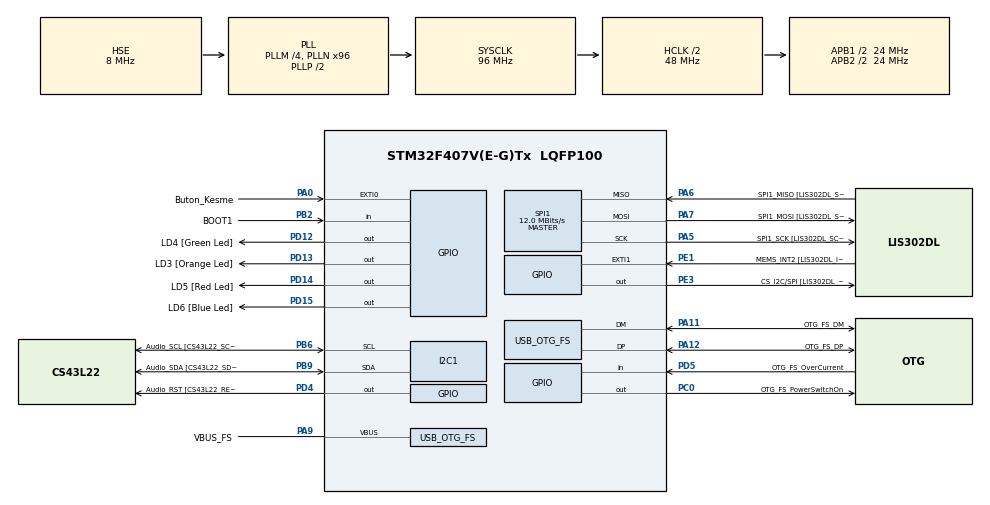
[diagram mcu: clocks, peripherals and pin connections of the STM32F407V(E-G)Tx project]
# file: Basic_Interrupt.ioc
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Mcu.Family=STM32F4
Mcu.Name=STM32F407V(E-G)Tx
Mcu.Package=LQFP100
NVIC.EXTI0_IRQn=true\:0\:0\:false\:false\:true\:true\:true\:true
NVIC.OTG_FS_IRQn=true\:0\:0\:false\:false\:true\:true\:true\:true
NVIC.PriorityGroup=NVIC_PRIORITYGROUP_0
PA0-WKUP.GPIO_Label=Buton_Kesme
PA0-WKUP.Signal=GPXTI0
PA10.GPIO_Label=OTG_FS_ID
PA10.GPIO_Mode=GPIO_MODE_AF_PP
PA10.GPIO_PuPd=GPIO_NOPULL
PA10.GPIO_Speed=GPIO_SPEED_FREQ_LOW
PA10.Signal=USB_OTG_FS_ID
PA11.GPIO_Label=OTG_FS_DM
PA11.GPIO_Mode=GPIO_MODE_AF_PP
PA11.GPIO_PuPd=GPIO_NOPULL
PA11.GPIO_Speed=GPIO_SPEED_FREQ_LOW
PA11.Mode=Host_Only
PA11.Signal=USB_OTG_FS_DM
PA12.GPIO_Label=OTG_FS_DP
PA12.GPIO_Mode=GPIO_MODE_AF_PP
PA12.GPIO_PuPd=GPIO_NOPULL
PA12.GPIO_Speed=GPIO_SPEED_FREQ_LOW
PA12.Mode=Host_Only
PA12.Signal=USB_OTG_FS_DP
PA13.GPIO_Label=SWDIO
PA13.Mode=Serial_Wire
PA13.Signal=SYS_JTMS-SWDIO
PA14.GPIO_Label=SWCLK
PA14.Mode=Serial_Wire
PA14.Signal=SYS_JTCK-SWCLK
PA4.GPIO_Label=I2S3_WS [CS43L22_LRCK]
PA4.GPIO_Mode=GPIO_MODE_AF_PP
PA4.GPIO_PuPd=GPIO_NOPULL
PA4.GPIO_Speed=GPIO_SPEED_FREQ_LOW
PA4.Signal=I2S3_WS
PA5.GPIO_Label=SPI1_SCK [LIS302DL_SCL/SPC]
PA5.GPIO_Mode=GPIO_MODE_AF_PP
PA5.GPIO_PuPd=GPIO_NOPULL
PA5.GPIO_Speed=GPIO_SPEED_FREQ_LOW
PA5.Mode=Full_Duplex_Master
PA5.Signal=SPI1_SCK
PA6.GPIO_Label=SPI1_MISO [LIS302DL_SDO]
PA6.GPIO_Mode=GPIO_MODE_AF_PP
PA6.GPIO_PuPd=GPIO_NOPULL
PA6.GPIO_Speed=GPIO_SPEED_FREQ_LOW
PA6.Mode=Full_Duplex_Master
PA6.Signal=SPI1_MISO
PA7.GPIO_Label=SPI1_MOSI [LIS302DL_SDA/SDI/SDO]
PA7.GPIO_Mode=GPIO_MODE_AF_PP
PA7.GPIO_PuPd=GPIO_NOPULL
PA7.GPIO_Speed=GPIO_SPEED_FREQ_LOW
PA7.Mode=Full_Duplex_Master
PA7.Signal=SPI1_MOSI
PA9.GPIO_Label=VBUS_FS
PA9.GPIO_Mode=GPIO_MODE_INPUT
PA9.GPIO_PuPd=GPIO_NOPULL
PA9.Mode=Activate_VBUS
PA9.Signal=USB_OTG_FS_VBUS
PB10.GPIO_Label=CLK_IN [MP45DT02_CLK]
PB10.GPIO_Mode=GPIO_MODE_AF_PP
PB10.GPIO_PuPd=GPIO_NOPULL
PB10.GPIO_Speed=GPIO_SPEED_FREQ_LOW
PB10.Signal=I2S2_CK
PB2.GPIO_Label=BOOT1
PB2.GPIO_Mode=GPIO_MODE_INPUT
PB2.GPIO_PuPd=GPIO_NOPULL
PB2.Signal=GPIO_Input
PB3.GPIO_Label=SWO
PB3.Signal=SYS_JTDO-SWO
PB6.GPIO_Label=Audio_SCL [CS43L22_SCL]
PB6.GPIO_Mode=GPIO_MODE_AF_OD
PB6.GPIO_Pu=GPIO_PULLUP
PB6.GPIO_PuPd=GPIO_NOPULL
PB6.GPIO_Speed=GPIO_SPEED_FREQ_LOW
PB6.Mode=I2C
PB6.Signal=I2C1_SCL
PB9.GPIO_Label=Audio_SDA [CS43L22_SDA]
PB9.GPIO_Mode=GPIO_MODE_AF_OD
PB9.GPIO_Pu=GPIO_PULLUP
PB9.GPIO_PuPd=GPIO_NOPULL
PB9.GPIO_Speed=GPIO_SPEED_FREQ_LOW
PB9.Mode=I2C
PB9.Signal=I2C1_SDA
PC0.GPIO_Label=OTG_FS_PowerSwitchOn
PC0.GPIO_PuPd=GPIO_NOPULL
PC0.GPIO_Speed=GPIO_SPEED_FREQ_LOW
PC0.PinState=GPIO_PIN_SET
PC0.Signal=GPIO_Output
PC10.GPIO_Label=I2S3_SCK [CS43L22_SCLK]
PC10.GPIO_Mode=GPIO_MODE_AF_PP
PC10.GPIO_PuPd=GPIO_NOPULL
PC10.GPIO_Speed=GPIO_SPEED_FREQ_LOW
PC10.Signal=I2S3_CK
PC12.GPIO_Label=I2S3_SD [CS43L22_SDIN]
PC12.GPIO_Mode=GPIO_MODE_AF_PP
PC12.GPIO_PuPd=GPIO_NOPULL
PC12.GPIO_Speed=GPIO_SPEED_FREQ_LOW
PC12.Signal=I2S3_SD
PC14-OSC32_IN.GPIO_Label=PC14-OSC32_IN
PC14-OSC32_IN.Mode=LSE-External-Oscillator
PC14-OSC32_IN.Signal=RCC_OSC32_IN
PC15-OSC32_OUT.GPIO_Label=PC15-OSC32_OUT
PC15-OSC32_OUT.Mode=LSE-External-Oscillator
PC15-OSC32_OUT.Signal=RCC_OSC32_OUT
PC3.GPIO_Label=PDM_OUT [MP45DT02_DOUT]
PC3.GPIO_Mode=GPIO_MODE_AF_PP
PC3.GPIO_PuPd=GPIO_NOPULL
PC3.GPIO_Speed=GPIO_SPEED_FREQ_LOW
PC3.Signal=I2S2_SD
PC7.GPIO_Label=I2S3_MCK [CS43L22_MCLK]
PC7.GPIO_Mode=GPIO_MODE_AF_PP
PC7.GPIO_PuPd=GPIO_NOPULL
PC7.GPIO_Speed=GPIO_SPEED_FREQ_LOW
PC7.Signal=I2S3_MCK
PD12.GPIO_Label=LD4 [Green Led]
PD12.GPIO_PuPd=GPIO_NOPULL
PD12.GPIO_Speed=GPIO_SPEED_FREQ_LOW
PD12.Signal=GPIO_Output
PD13.GPIO_Label=LD3 [Orange Led]
PD13.GPIO_PuPd=GPIO_NOPULL
PD13.GPIO_Speed=GPIO_SPEED_FREQ_LOW
PD13.Signal=GPIO_Output
PD14.GPIO_Label=LD5 [Red Led]
PD14.GPIO_PuPd=GPIO_NOPULL
PD14.GPIO_Speed=GPIO_SPEED_FREQ_LOW
PD14.Signal=GPIO_Output
PD15.GPIO_Label=LD6 [Blue Led]
PD15.GPIO_PuPd=GPIO_NOPULL
PD15.GPIO_Speed=GPIO_SPEED_FREQ_LOW
PD15.Signal=GPIO_Output
PD4.GPIO_Label=Audio_RST [CS43L22_RESET]
PD4.GPIO_PuPd=GPIO_NOPULL
PD4.GPIO_Speed=GPIO_SPEED_FREQ_LOW
PD4.Signal=GPIO_Output
PD5.GPIO_Label=OTG_FS_OverCurrent
PD5.GPIO_Mode=GPIO_MODE_INPUT
PD5.GPIO_PuPd=GPIO_NOPULL
PD5.Signal=GPIO_Input
PE1.GPIO_Label=MEMS_INT2 [LIS302DL_INT2]
PE1.GPIO_ModeDefaultEXTI=GPIO_MODE_EVT_RISING
PE1.GPIO_PuPd=GPIO_NOPULL
PE1.Signal=GPXTI1
PE3.GPIO_Label=CS_I2C/SPI [LIS302DL_CS_I2C/SPI]
PE3.GPIO_PuPd=GPIO_NOPULL
PE3.GPIO_Speed=GPIO_SPEED_FREQ_LOW
PE3.Signal=GPIO_Output
PH0-OSC_IN.GPIO_Label=PH0-OSC_IN
PH0-OSC_IN.Mode=HSE-External-Oscillator
PH0-OSC_IN.Signal=RCC_OSC_IN
PH1-OSC_OUT.GPIO_Label=PH1-OSC_OUT
PH1-OSC_OUT.Mode=HSE-External-Oscillator
PH1-OSC_OUT.Signal=RCC_OSC_OUT
ProjectManager.HeapSize=0x200
ProjectManager.StackSize=0x400
ProjectManager.TargetToolchain=STM32CubeIDE
RCC.48MHZClocksFreq_Value=48000000
RCC.AHBCLKDivider=RCC_SYSCLK_DIV2
RCC.AHBFreq_Value=48000000
RCC.APB1CLKDivider=RCC_HCLK_DIV2
RCC.APB1Freq_Value=24000000
RCC.APB1TimFreq_Value=48000000
RCC.APB2CLKDivider=RCC_HCLK_DIV2
RCC.APB2Freq_Value=24000000
RCC.APB2TimFreq_Value=48000000
RCC.CortexFreq_Value=48000000
RCC.HCLKFreq_Value=48000000
RCC.HSE_VALUE=8000000
RCC.HSI_VALUE=16000000
RCC.PLLI2SN=50
RCC.PLLM=4
RCC.PLLN=96
RCC.SYSCLKFreq_VALUE=96000000
RCC.SYSCLKSource=RCC_SYSCLKSOURCE_PLLCLK
RCC.VCOOutputFreq_Value=192000000
SPI1.BaudRatePrescaler-Full_Duplex_Master=SPI_BAUDRATEPRESCALER_2
SPI1.CalculateBaudRate=12.0 MBits/s
SPI1.CalculateBaudRate-Full_Duplex_Master=42.0 MBits/s
SPI1.Direction=SPI_DIRECTION_2LINES
SPI1.Mode=SPI_MODE_MASTER
SPI1.Mode-Full_Duplex_Master=SPI_MODE_MASTER
SPI1.VirtualType=VM_MASTER
TIM1.Period=65535-1
TIM1.Prescaler=48000-1
USB_HOST.BSP.number=1
USB_HOST.USBH_HandleTypeDef-CDC_FS=hUsbHostFS
USB_HOST.VirtualModeFS=Cdc
USB_HOST0.BSP.STBoard=false
USB_HOST0.BSP.api=Unknown
USB_HOST0.BSP.instance=PC0
USB_HOST0.BSP.ip=GPIO
USB_HOST0.BSP.mode=Output
USB_HOST0.BSP.name=Drive_VBUS_FS
USB_HOST0.BSP.solution=PC0
USB_OTG_FS.VirtualMode=Host_Only
USB_OTG_FS.phy_itface=HCD_PHY_EMBEDDED
VP_TIM1_VS_ClockSourceINT.Mode=Internal
VP_USB_HOST_VS_USB_HOST_CDC_FS.Mode=CDC_FS
board=STM32F407G-DISC1

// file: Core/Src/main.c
/* USER CODE BEGIN Header */
/**
  ******************************************************************************
  * @file           : main.c
  * @brief          : Main program body
  ******************************************************************************
  * @attention
  *
  * Copyright (c) 2024 STMicroelectronics.
  * All rights reserved.
  *
  * This software is licensed under terms that can be found in the LICENSE file
  * in the root directory of this software component.
  * If no LICENSE file comes with this software, it is provided AS-IS.
  *
  ******************************************************************************
  */
/* USER CODE END Header */
#include "main.h"
#include "usb_host.h"

/* USER CODE BEGIN Includes */

#include <stdbool.h>

/* USER CODE END Includes */

/* USER CODE BEGIN PD */

  bool kesmedurumu = false;
  int i= 0;

/* USER CODE END PD */

I2C_HandleTypeDef hi2c1;

SPI_HandleTypeDef hspi1;

TIM_HandleTypeDef htim1;

void SystemClock_Config(void);
static void MX_GPIO_Init(void);
static void MX_I2C1_Init(void);
static void MX_SPI1_Init(void);
static void MX_TIM1_Init(void);
void MX_USB_HOST_Process(void);

/* USER CODE BEGIN 0 */

void delay_ms (uint16_t ms)
{

	__HAL_TIM_SET_COUNTER(&htim1,0);
	while (__HAL_TIM_GET_COUNTER(&htim1) < ms);

}

/* USER CODE END 0 */

int main(void)
{

  /* MCU Configuration--------------------------------------------------------*/

  /* Reset of all peripherals, Initializes the Flash interface and the Systick. */
  HAL_Init();

  /* Configure the system clock */
  SystemClock_Config();

  /* Initialize all configured peripherals */
  MX_GPIO_Init();
  MX_I2C1_Init();
  MX_SPI1_Init();
  MX_USB_HOST_Init();
  MX_TIM1_Init();
  /* USER CODE BEGIN 2 */

  HAL_TIM_Base_Start(&htim1);

  /* USER CODE END 2 */

  /* Infinite loop */
  /* USER CODE BEGIN WHILE */
  while (1)
  {
			HAL_GPIO_WritePin(LD4_GPIO_Port, LD4_Pin, 1);
			delay_ms(500);

			HAL_GPIO_WritePin(LD3_GPIO_Port, LD3_Pin, 1);
			delay_ms(500);

			HAL_GPIO_WritePin(LD5_GPIO_Port, LD5_Pin, 1);
			delay_ms(500);

			HAL_GPIO_WritePin(LD6_GPIO_Port, LD6_Pin, 1);
			delay_ms(500);

			HAL_GPIO_WritePin(LD6_GPIO_Port, LD6_Pin, 0);
			delay_ms(500);

			HAL_GPIO_WritePin(LD5_GPIO_Port, LD5_Pin, 0);
			delay_ms(500);

			HAL_GPIO_WritePin(LD3_GPIO_Port, LD3_Pin, 0);
			delay_ms(500);

			HAL_GPIO_WritePin(LD4_GPIO_Port, LD4_Pin, 0);
			delay_ms(500);

    /* USER CODE END WHILE */
    MX_USB_HOST_Process();

  }
}

void SystemClock_Config(void)
{
  RCC_OscInitTypeDef RCC_OscInitStruct = {0};
  RCC_ClkInitTypeDef RCC_ClkInitStruct = {0};

  /** Configure the main internal regulator output voltage
  */
  __HAL_RCC_PWR_CLK_ENABLE();
  __HAL_PWR_VOLTAGESCALING_CONFIG(PWR_REGULATOR_VOLTAGE_SCALE1);

  /** Initializes the RCC Oscillators according to the specified parameters
  * in the RCC_OscInitTypeDef structure.
  */
  RCC_OscInitStruct.OscillatorType = RCC_OSCILLATORTYPE_HSE;
  RCC_OscInitStruct.HSEState = RCC_HSE_ON;
  RCC_OscInitStruct.PLL.PLLState = RCC_PLL_ON;
  RCC_OscInitStruct.PLL.PLLSource = RCC_PLLSOURCE_HSE;
  RCC_OscInitStruct.PLL.PLLM = 4;
  RCC_OscInitStruct.PLL.PLLN = 96;
  RCC_OscInitStruct.PLL.PLLP = RCC_PLLP_DIV2;
  RCC_OscInitStruct.PLL.PLLQ = 4;
  if (HAL_RCC_OscConfig(&RCC_OscInitStruct) != HAL_OK)
  {
    Error_Handler();
  }

  /** Initializes the CPU, AHB and APB buses clocks
  */
  RCC_ClkInitStruct.ClockType = RCC_CLOCKTYPE_HCLK|RCC_CLOCKTYPE_SYSCLK
                              |RCC_CLOCKTYPE_PCLK1|RCC_CLOCKTYPE_PCLK2;
  RCC_ClkInitStruct.SYSCLKSource = RCC_SYSCLKSOURCE_PLLCLK;
  RCC_ClkInitStruct.AHBCLKDivider = RCC_SYSCLK_DIV2;
  RCC_ClkInitStruct.APB1CLKDivider = RCC_HCLK_DIV2;
  RCC_ClkInitStruct.APB2CLKDivider = RCC_HCLK_DIV2;

  if (HAL_RCC_ClockConfig(&RCC_ClkInitStruct, FLASH_LATENCY_1) != HAL_OK)
  {
    Error_Handler();
  }
}

static void MX_I2C1_Init(void)
{

  hi2c1.Instance = I2C1;
  hi2c1.Init.ClockSpeed = 100000;
  hi2c1.Init.DutyCycle = I2C_DUTYCYCLE_2;
  hi2c1.Init.OwnAddress1 = 0;
  hi2c1.Init.AddressingMode = I2C_ADDRESSINGMODE_7BIT;
  hi2c1.Init.DualAddressMode = I2C_DUALADDRESS_DISABLE;
  hi2c1.Init.OwnAddress2 = 0;
  hi2c1.Init.GeneralCallMode = I2C_GENERALCALL_DISABLE;
  hi2c1.Init.NoStretchMode = I2C_NOSTRETCH_DISABLE;
  if (HAL_I2C_Init(&hi2c1) != HAL_OK)
  {
    Error_Handler();
  }

}

static void MX_SPI1_Init(void)
{

  /* SPI1 parameter configuration*/
  hspi1.Instance = SPI1;
  hspi1.Init.Mode = SPI_MODE_MASTER;
  hspi1.Init.Direction = SPI_DIRECTION_2LINES;
  hspi1.Init.DataSize = SPI_DATASIZE_8BIT;
  hspi1.Init.CLKPolarity = SPI_POLARITY_LOW;
  hspi1.Init.CLKPhase = SPI_PHASE_1EDGE;
  hspi1.Init.NSS = SPI_NSS_SOFT;
  hspi1.Init.BaudRatePrescaler = SPI_BAUDRATEPRESCALER_2;
  hspi1.Init.FirstBit = SPI_FIRSTBIT_MSB;
  hspi1.Init.TIMode = SPI_TIMODE_DISABLE;
  hspi1.Init.CRCCalculation = SPI_CRCCALCULATION_DISABLE;
  hspi1.Init.CRCPolynomial = 10;
  if (HAL_SPI_Init(&hspi1) != HAL_OK)
  {
    Error_Handler();
  }

}

static void MX_TIM1_Init(void)
{

  TIM_ClockConfigTypeDef sClockSourceConfig = {0};
  TIM_MasterConfigTypeDef sMasterConfig = {0};

  htim1.Instance = TIM1;
  htim1.Init.Prescaler = 48000-1;
  htim1.Init.CounterMode = TIM_COUNTERMODE_UP;
  htim1.Init.Period = 65535-1;
  htim1.Init.ClockDivision = TIM_CLOCKDIVISION_DIV1;
  htim1.Init.RepetitionCounter = 0;
  htim1.Init.AutoReloadPreload = TIM_AUTORELOAD_PRELOAD_DISABLE;
  if (HAL_TIM_Base_Init(&htim1) != HAL_OK)
  {
    Error_Handler();
  }
  sClockSourceConfig.ClockSource = TIM_CLOCKSOURCE_INTERNAL;
  if (HAL_TIM_ConfigClockSource(&htim1, &sClockSourceConfig) != HAL_OK)
  {
    Error_Handler();
  }
  sMasterConfig.MasterOutputTrigger = TIM_TRGO_RESET;
  sMasterConfig.MasterSlaveMode = TIM_MASTERSLAVEMODE_DISABLE;
  if (HAL_TIMEx_MasterConfigSynchronization(&htim1, &sMasterConfig) != HAL_OK)
  {
    Error_Handler();
  }

}

static void MX_GPIO_Init(void)
{
  GPIO_InitTypeDef GPIO_InitStruct = {0};

  /* GPIO Ports Clock Enable */
  __HAL_RCC_GPIOE_CLK_ENABLE();
  __HAL_RCC_GPIOC_CLK_ENABLE();
  __HAL_RCC_GPIOH_CLK_ENABLE();
  __HAL_RCC_GPIOA_CLK_ENABLE();
  __HAL_RCC_GPIOB_CLK_ENABLE();
  __HAL_RCC_GPIOD_CLK_ENABLE();

  /*Configure GPIO pin Output Level */
  HAL_GPIO_WritePin(CS_I2C_SPI_GPIO_Port, CS_I2C_SPI_Pin, GPIO_PIN_RESET);

  /*Configure GPIO pin Output Level */
  HAL_GPIO_WritePin(OTG_FS_PowerSwitchOn_GPIO_Port, OTG_FS_PowerSwitchOn_Pin, GPIO_PIN_SET);

  /*Configure GPIO pin Output Level */
  HAL_GPIO_WritePin(GPIOD, LD4_Pin|LD3_Pin|LD5_Pin|LD6_Pin
                          |Audio_RST_Pin, GPIO_PIN_RESET);

  /*Configure GPIO pin : CS_I2C_SPI_Pin */
  GPIO_InitStruct.Pin = CS_I2C_SPI_Pin;
  GPIO_InitStruct.Mode = GPIO_MODE_OUTPUT_PP;
  GPIO_InitStruct.Pull = GPIO_NOPULL;
  GPIO_InitStruct.Speed = GPIO_SPEED_FREQ_LOW;
  HAL_GPIO_Init(CS_I2C_SPI_GPIO_Port, &GPIO_InitStruct);

  /*Configure GPIO pin : OTG_FS_PowerSwitchOn_Pin */
  GPIO_InitStruct.Pin = OTG_FS_PowerSwitchOn_Pin;
  GPIO_InitStruct.Mode = GPIO_MODE_OUTPUT_PP;
  GPIO_InitStruct.Pull = GPIO_NOPULL;
  GPIO_InitStruct.Speed = GPIO_SPEED_FREQ_LOW;
  HAL_GPIO_Init(OTG_FS_PowerSwitchOn_GPIO_Port, &GPIO_InitStruct);

  /*Configure GPIO pin : PDM_OUT_Pin */
  GPIO_InitStruct.Pin = PDM_OUT_Pin;
  GPIO_InitStruct.Mode = GPIO_MODE_AF_PP;
  GPIO_InitStruct.Pull = GPIO_NOPULL;
  GPIO_InitStruct.Speed = GPIO_SPEED_FREQ_LOW;
  GPIO_InitStruct.Alternate = GPIO_AF5_SPI2;
  HAL_GPIO_Init(PDM_OUT_GPIO_Port, &GPIO_InitStruct);

  /*Configure GPIO pin : Buton_Kesme_Pin */
  GPIO_InitStruct.Pin = Buton_Kesme_Pin;
  GPIO_InitStruct.Mode = GPIO_MODE_IT_RISING;
  GPIO_InitStruct.Pull = GPIO_NOPULL;
  HAL_GPIO_Init(Buton_Kesme_GPIO_Port, &GPIO_InitStruct);

  /*Configure GPIO pin : I2S3_WS_Pin */
  GPIO_InitStruct.Pin = I2S3_WS_Pin;
  GPIO_InitStruct.Mode = GPIO_MODE_AF_PP;
  GPIO_InitStruct.Pull = GPIO_NOPULL;
  GPIO_InitStruct.Speed = GPIO_SPEED_FREQ_LOW;
  GPIO_InitStruct.Alternate = GPIO_AF6_SPI3;
  HAL_GPIO_Init(I2S3_WS_GPIO_Port, &GPIO_InitStruct);

  /*Configure GPIO pin : BOOT1_Pin */
  GPIO_InitStruct.Pin = BOOT1_Pin;
  GPIO_InitStruct.Mode = GPIO_MODE_INPUT;
  GPIO_InitStruct.Pull = GPIO_NOPULL;
  HAL_GPIO_Init(BOOT1_GPIO_Port, &GPIO_InitStruct);

  /*Configure GPIO pin : CLK_IN_Pin */
  GPIO_InitStruct.Pin = CLK_IN_Pin;
  GPIO_InitStruct.Mode = GPIO_MODE_AF_PP;
  GPIO_InitStruct.Pull = GPIO_NOPULL;
  GPIO_InitStruct.Speed = GPIO_SPEED_FREQ_LOW;
  GPIO_InitStruct.Alternate = GPIO_AF5_SPI2;
  HAL_GPIO_Init(CLK_IN_GPIO_Port, &GPIO_InitStruct);

  /*Configure GPIO pins : LD4_Pin LD3_Pin LD5_Pin LD6_Pin
                           Audio_RST_Pin */
  GPIO_InitStruct.Pin = LD4_Pin|LD3_Pin|LD5_Pin|LD6_Pin
                          |Audio_RST_Pin;
  GPIO_InitStruct.Mode = GPIO_MODE_OUTPUT_PP;
  GPIO_InitStruct.Pull = GPIO_NOPULL;
  GPIO_InitStruct.Speed = GPIO_SPEED_FREQ_LOW;
  HAL_GPIO_Init(GPIOD, &GPIO_InitStruct);

  /*Configure GPIO pins : I2S3_MCK_Pin I2S3_SCK_Pin I2S3_SD_Pin */
  GPIO_InitStruct.Pin = I2S3_MCK_Pin|I2S3_SCK_Pin|I2S3_SD_Pin;
  GPIO_InitStruct.Mode = GPIO_MODE_AF_PP;
  GPIO_InitStruct.Pull = GPIO_NOPULL;
  GPIO_InitStruct.Speed = GPIO_SPEED_FREQ_LOW;
  GPIO_InitStruct.Alternate = GPIO_AF6_SPI3;
  HAL_GPIO_Init(GPIOC, &GPIO_InitStruct);

  /*Configure GPIO pin : OTG_FS_OverCurrent_Pin */
  GPIO_InitStruct.Pin = OTG_FS_OverCurrent_Pin;
  GPIO_InitStruct.Mode = GPIO_MODE_INPUT;
  GPIO_InitStruct.Pull = GPIO_NOPULL;
  HAL_GPIO_Init(OTG_FS_OverCurrent_GPIO_Port, &GPIO_InitStruct);

  /*Configure GPIO pin : MEMS_INT2_Pin */
  GPIO_InitStruct.Pin = MEMS_INT2_Pin;
  GPIO_InitStruct.Mode = GPIO_MODE_EVT_RISING;
  GPIO_InitStruct.Pull = GPIO_NOPULL;
  HAL_GPIO_Init(MEMS_INT2_GPIO_Port, &GPIO_InitStruct);

  /* EXTI interrupt init*/
  HAL_NVIC_SetPriority(EXTI0_IRQn, 0, 0);
  HAL_NVIC_EnableIRQ(EXTI0_IRQn);

}

/* USER CODE BEGIN 4 */

void HAL_GPIO_EXTI_Callback(uint16_t GPIO_Pin)
{

	HAL_GPIO_WritePin(LD4_GPIO_Port, LD4_Pin, 0);
	HAL_GPIO_WritePin(LD5_GPIO_Port, LD5_Pin, 0);
	HAL_GPIO_WritePin(LD3_GPIO_Port, LD3_Pin, 1);
	HAL_GPIO_WritePin(LD6_GPIO_Port, LD6_Pin, 1);
	delay_ms(5000);

}

/* USER CODE END 4 */

void Error_Handler(void)
{
  __disable_irq();
  while (1)
  {
  }
}
